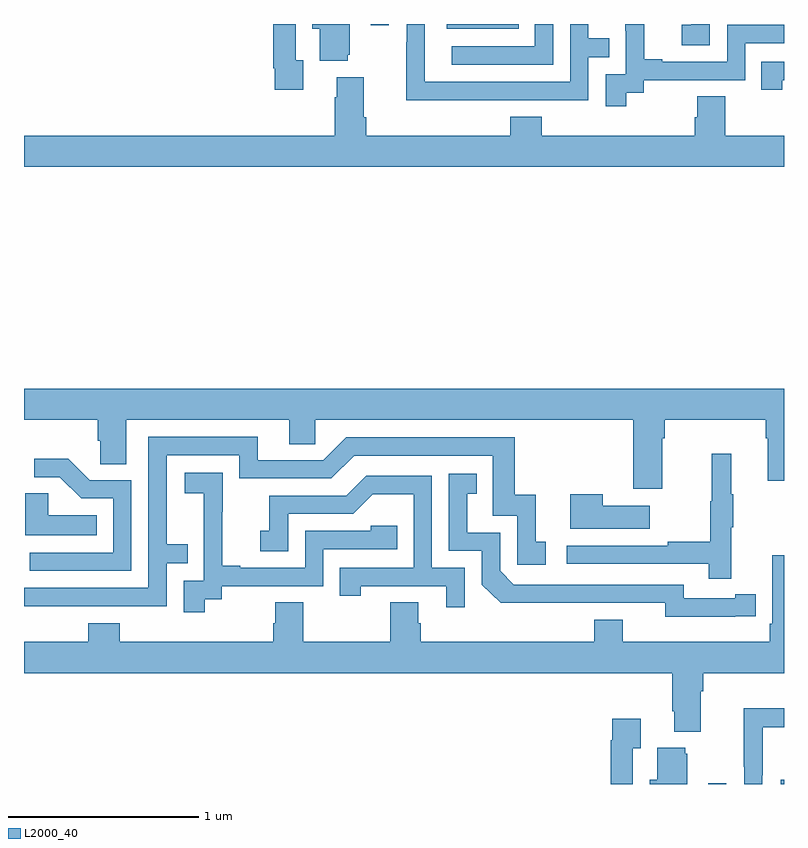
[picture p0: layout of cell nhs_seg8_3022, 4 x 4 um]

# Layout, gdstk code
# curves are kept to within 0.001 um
import gdstk
lib = gdstk.Library(unit=1e-6, precision=1e-09)
def R(c, l, rs):  # rectangles x0, y0, x1, y1
    for r in rs: c.add(gdstk.rectangle(r[:2], r[2:], *l))
def P(c, l, *ps):  # polygons
    for p in ps: c.add(gdstk.Polygon(p, *l))
L2000_40 = (2000, 40)

nhs_seg8_3022 = lib.new_cell('nhs_seg8_3022')
R(nhs_seg8_3022, L2000_40, [(302.601,1131.9,302.697,1131.904), (302.984,1131.9,303,1131.922), (301.226,1135.874,301.604,1135.9), (300.825,1135.893,300.921,1135.9)])
P(nhs_seg8_3022, L2000_40, [(301.475,1135.5),(301.971,1135.5),(301.971,1135.725),(302.081,1135.725),(302.081,1135.826),(301.971,1135.826),(301.971,1135.9),(301.875,1135.9),(301.875,1135.596),(301.11,1135.596),(301.11,1135.9),(301.014,1135.9),(301.014,1135.805),(301.012,1135.805),(301.012,1135.499),(301.475,1135.499)],
  [(300.704,1135.737),(300.715,1135.737),(300.715,1135.9),(300.518,1135.9),(300.518,1135.874),(300.557,1135.874),(300.557,1135.706),(300.704,1135.706)],
  [(302.17,1135.537),(302.262,1135.537),(302.262,1135.605),(302.796,1135.605),(302.796,1135.8),(303,1135.8),(303,1135.896),(302.7,1135.896),(302.7,1135.701),(302.359,1135.701),(302.359,1135.714),(302.264,1135.714),(302.264,1135.9),(302.165,1135.9),(302.165,1135.865),(302.166,1135.865),(302.166,1135.635),(302.061,1135.635),(302.061,1135.467),(302.17,1135.467)],
  [(301.785,1135.9),(301.689,1135.9),(301.689,1135.782),(301.251,1135.782),(301.251,1135.686),(301.785,1135.686)],
  [(300.469,1135.71),(300.429,1135.71),(300.429,1135.9),(300.313,1135.9),(300.313,1135.666),(300.321,1135.666),(300.321,1135.554),(300.469,1135.554)],
  [(302.61,1135.9),(302.512,1135.9),(302.512,1135.897),(302.463,1135.897),(302.463,1135.788),(302.61,1135.788)],
  [(302.992,1135.605),(303,1135.605),(303,1135.701),(302.881,1135.701),(302.881,1135.554),(302.992,1135.554)],
  [(303,1135.312),(302.691,1135.312),(302.691,1135.52),(302.543,1135.52),(302.543,1135.41),(302.531,1135.41),(302.531,1135.312),(301.724,1135.312),(301.724,1135.411),(301.559,1135.411),(301.559,1135.312),(300.8,1135.312),(300.8,1135.408),(300.787,1135.408),(300.787,1135.621),(300.647,1135.621),(300.647,1135.514),(300.635,1135.514),(300.635,1135.312),(299,1135.312),(299,1135.148),(303,1135.148)],
  [(302.359,1133.72),(302.372,1133.72),(302.372,1133.816),(302.903,1133.816),(302.903,1133.72),(302.915,1133.72),(302.915,1133.496),(303,1133.496),(303,1133.98),(299,1133.98),(299,1133.816),(299.387,1133.816),(299.387,1133.707),(299.4,1133.707),(299.4,1133.584),(299.539,1133.584),(299.539,1133.816),(300.395,1133.816),(300.395,1133.689),(300.534,1133.689),(300.534,1133.816),(302.207,1133.816),(302.207,1133.454),(302.359,1133.454)],
  [(299.255,1132.836),(299.751,1132.836),(299.751,1133.061),(299.861,1133.061),(299.861,1133.162),(299.751,1133.162),(299.751,1133.631),(300.132,1133.631),(300.132,1133.508),(300.618,1133.508),(300.738,1133.628),(301.467,1133.628),(301.467,1133.313),(301.596,1133.313),(301.596,1133.055),(301.747,1133.055),(301.747,1133.175),(301.694,1133.175),(301.694,1133.422),(301.583,1133.422),(301.583,1133.724),(300.696,1133.724),(300.576,1133.604),(300.229,1133.604),(300.229,1133.727),(299.655,1133.727),(299.655,1132.932),(299,1132.932),(299,1132.835)],
  [(302.723,1133.251),(302.734,1133.251),(302.734,1133.425),(302.723,1133.425),(302.723,1133.638),(302.62,1133.638),(302.62,1133.388),(302.613,1133.388),(302.613,1133.174),(302.389,1133.174),(302.389,1133.154),(301.857,1133.154),(301.857,1133.058),(302.605,1133.058),(302.605,1132.98),(302.723,1132.98)],
  [(299.565,1133.499),(299.346,1133.499),(299.233,1133.612),(299.055,1133.612),(299.055,1133.514),(299.189,1133.514),(299.3,1133.403),(299.469,1133.403),(299.469,1133.118),(299.031,1133.118),(299.031,1133.022),(299.565,1133.022)],
  [(299.95,1132.873),(300.042,1132.873),(300.042,1132.941),(300.576,1132.941),(300.576,1133.136),(300.965,1133.136),(300.965,1133.259),(300.825,1133.259),(300.825,1133.232),(300.48,1133.232),(300.48,1133.037),(300.139,1133.037),(300.139,1133.05),(300.044,1133.05),(300.044,1133.333),(300.045,1133.333),(300.045,1133.539),(299.847,1133.539),(299.847,1133.429),(299.945,1133.429),(299.945,1133.201),(299.946,1133.201),(299.946,1132.971),(299.841,1132.971),(299.841,1132.803),(299.95,1132.803)],
  [(302.744,1132.782),(302.852,1132.782),(302.852,1132.898),(302.744,1132.898),(302.744,1132.878),(302.472,1132.878),(302.472,1132.95),(301.578,1132.95),(301.506,1133.022),(301.506,1133.223),(301.333,1133.223),(301.333,1133.427),(301.382,1133.427),(301.382,1133.533),(301.236,1133.533),(301.236,1133.127),(301.41,1133.127),(301.41,1132.95),(301.508,1132.853),(302.376,1132.854),(302.376,1132.781)],
  [(301.32,1133.037),(301.146,1133.037),(301.146,1133.523),(300.8,1133.523),(300.695,1133.418),(300.292,1133.418),(300.292,1133.233),(300.243,1133.233),(300.243,1133.124),(300.39,1133.124),(300.39,1133.322),(300.732,1133.322),(300.836,1133.426),(301.05,1133.426),(301.05,1133.037),(300.661,1133.037),(300.661,1132.89),(300.772,1132.89),(300.772,1132.941),(301.223,1132.941),(301.223,1132.83),(301.32,1132.83)],
  [(299.384,1133.314),(299.127,1133.314),(299.127,1133.429),(299.006,1133.429),(299.006,1133.21),(299.384,1133.21)],
  [(302.293,1133.365),(302.045,1133.365),(302.045,1133.425),(301.874,1133.425),(301.874,1133.243),(302.293,1133.243)],
  [(302.563,1132.388),(302.576,1132.388),(302.576,1132.484),(303,1132.484),(303,1133.104),(302.937,1133.104),(302.937,1132.744),(302.924,1132.744),(302.924,1132.648),(302.152,1132.648),(302.152,1132.765),(302,1132.765),(302,1132.648),(301.088,1132.648),(301.088,1132.746),(301.075,1132.746),(301.075,1132.856),(300.928,1132.856),(300.928,1132.648),(300.471,1132.648),(300.471,1132.856),(300.323,1132.856),(300.323,1132.746),(300.311,1132.746),(300.311,1132.648),(299.504,1132.648),(299.504,1132.747),(299.339,1132.747),(299.339,1132.648),(299,1132.648),(299,1132.484),(302.411,1132.484),(302.411,1132.282),(302.423,1132.282),(302.423,1132.175),(302.563,1132.175)],
  [(302.886,1131.946),(302.887,1131.946),(302.887,1132.2),(303,1132.2),(303,1132.298),(302.788,1132.298),(302.788,1131.991),(302.79,1131.991),(302.79,1131.9),(302.886,1131.9)],
  [(302.205,1132.087),(302.245,1132.087),(302.245,1132.243),(302.097,1132.243),(302.097,1132.13),(302.089,1132.13),(302.089,1131.9),(302.205,1131.9)],
  [(302.491,1132.059),(302.48,1132.059),(302.48,1132.09),(302.333,1132.09),(302.333,1131.922),(302.294,1131.922),(302.294,1131.9),(302.491,1131.9)])

lib.write_gds('nhs_seg8_3022.gds')
